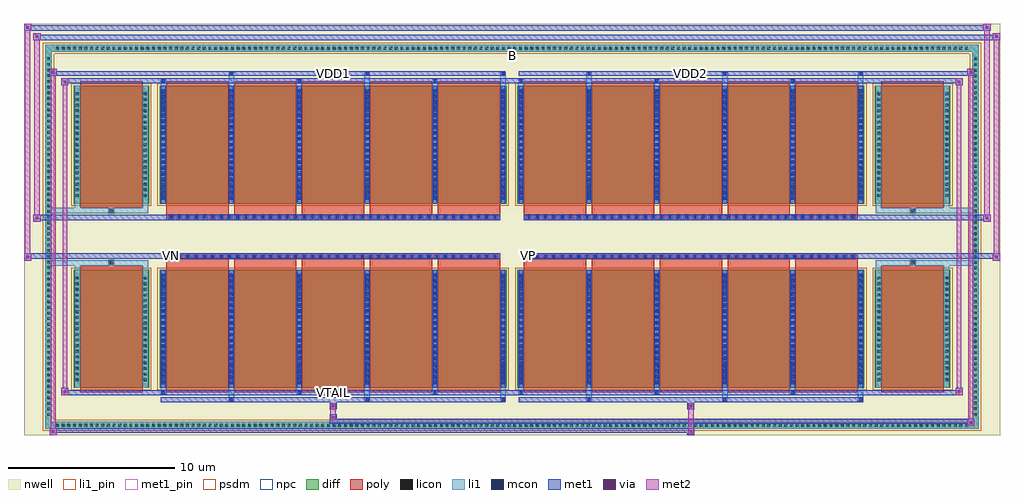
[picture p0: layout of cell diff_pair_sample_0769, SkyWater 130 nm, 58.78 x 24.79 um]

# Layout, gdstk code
import gdstk
lib = gdstk.Library(unit=1e-6, precision=5e-09)
def R(c, l, rs):  # rectangles x0, y0, x1, y1
    for r in rs: c.add(gdstk.rectangle(r[:2], r[2:], *l))
def A(c, l, x, y, w, h, nx, ny, dx, dy):  # array of equal rectangles
    R(c, l, [(x+i*dx, y+j*dy, x+i*dx+w, y+j*dy+h) for i in range(nx) for j in range(ny)])
def P(c, l, *ps):  # polygons
    for p in ps: c.add(gdstk.Polygon(p, *l))
nwell = (64, 20)
diff = (65, 20)
poly = (66, 20)
licon = (66, 44)
li1_pin = (67, 16)
li1 = (67, 20)
mcon = (67, 44)
met1_pin = (68, 16)
met1 = (68, 20)
via = (68, 44)
met2 = (69, 20)
psdm = (94, 20)
npc = (95, 20)

diff_pair_sample_0769 = lib.new_cell('diff_pair_sample_0769')
R(diff_pair_sample_0769, nwell, [(-29.39,-11.96,29.39,12.83), (-26.71,-10.15,-0.01,-0.805), (0.01,-10.15,26.71,-0.805), (-26.71,0.805,-0.01,10.15), (0.01,0.805,26.71,10.15)])
A(diff_pair_sample_0769, diff, -27.575, -11.56, 0.41, 0.41, 162, 2, 0.34, 22.71)
A(diff_pair_sample_0769, diff, -28.12, -10.915, 0.41, 0.41, 1, 64, 0, 0.34)
A(diff_pair_sample_0769, diff, 27.71, -10.915, 0.41, 0.41, 1, 64, 0, 0.34)
R(diff_pair_sample_0769, diff, [(-27.575,-11.56,27.575,-11.15), (-28.12,-10.915,-27.71,10.915), (27.71,-10.915,28.12,10.915), (-26.4,-9.105,-21.86,-1.985), (-21.22,-9.105,-0.32,-1.985), (0.32,-9.105,21.22,-1.985), (21.86,-9.105,26.4,-1.985), (-26.4,1.985,-21.86,9.105), (-21.22,1.985,-0.32,9.105), (0.32,1.985,21.22,9.105), (21.86,1.985,26.4,9.105), (-27.575,11.15,27.575,11.56)])
P(diff_pair_sample_0769, diff, [(28.12,11.56),(-28.12,11.56),(-28.12,-11.15),(-27.71,-11.15),(-27.71,11.15),(27.71,11.15),(27.71,-11.15),(-27.71,-11.15),(-28.12,-11.15),(-28.12,-11.56),(28.12,-11.56)])
A(diff_pair_sample_0769, poly, -20.83, -9.355, 3.76, 7.62, 5, 2, 4.09, 11.09)
A(diff_pair_sample_0769, poly, 0.71, -9.355, 3.76, 7.62, 5, 2, 4.09, 11.09)
A(diff_pair_sample_0769, poly, -20.83, -1.735, 3.76, 0.4, 5, 2, 4.09, 3.07)
A(diff_pair_sample_0769, poly, 0.71, -1.735, 3.76, 0.4, 5, 2, 4.09, 3.07)
A(diff_pair_sample_0769, poly, -20.685, -1.335, 0.33, 0.33, 40, 2, 0.5, 2.34)
A(diff_pair_sample_0769, poly, 0.855, -1.335, 0.33, 0.33, 40, 2, 0.5, 2.34)
R(diff_pair_sample_0769, poly, [(-26.01,-9.355,-22.25,-1.735), (22.25,-9.355,26.01,-1.735), (-24.295,-1.735,-23.965,-1.405), (-24.295,-1.735,-23.965,-1.405), (23.965,-1.735,24.295,-1.405), (23.965,-1.735,24.295,-1.405), (-20.83,-1.335,-0.71,-1.005), (0.71,-1.335,20.83,-1.005), (-20.83,1.005,-0.71,1.335), (0.71,1.005,20.83,1.335), (-24.295,1.405,-23.965,1.735), (-24.295,1.405,-23.965,1.735), (23.965,1.405,24.295,1.735), (23.965,1.405,24.295,1.735), (-26.01,1.735,-22.25,9.355), (22.25,1.735,26.01,9.355)])
A(diff_pair_sample_0769, licon, -27.455, -11.44, 0.17, 0.17, 162, 2, 0.34, 22.71)
A(diff_pair_sample_0769, licon, -28, -10.795, 0.17, 0.17, 1, 64, 0, 0.34)
A(diff_pair_sample_0769, licon, 27.83, -10.795, 0.17, 0.17, 1, 64, 0, 0.34)
A(diff_pair_sample_0769, licon, -26.26, -8.69, 0.17, 0.17, 1, 19, 0, 0.34)
A(diff_pair_sample_0769, licon, -22.17, -8.69, 0.17, 0.17, 1, 19, 0, 0.34)
A(diff_pair_sample_0769, licon, -21.08, -8.69, 0.17, 0.17, 6, 19, 4.09, 0.34)
A(diff_pair_sample_0769, licon, 0.46, -8.69, 0.17, 0.17, 6, 19, 4.09, 0.34)
A(diff_pair_sample_0769, licon, 22, -8.69, 0.17, 0.17, 1, 19, 0, 0.34)
A(diff_pair_sample_0769, licon, 26.09, -8.69, 0.17, 0.17, 1, 19, 0, 0.34)
A(diff_pair_sample_0769, licon, -20.605, -1.255, 0.17, 0.17, 40, 2, 0.5, 2.34)
A(diff_pair_sample_0769, licon, 0.935, -1.255, 0.17, 0.17, 40, 2, 0.5, 2.34)
A(diff_pair_sample_0769, licon, -26.26, 2.4, 0.17, 0.17, 1, 19, 0, 0.34)
A(diff_pair_sample_0769, licon, -22.17, 2.4, 0.17, 0.17, 1, 19, 0, 0.34)
A(diff_pair_sample_0769, licon, -21.08, 2.4, 0.17, 0.17, 6, 19, 4.09, 0.34)
A(diff_pair_sample_0769, licon, 0.46, 2.4, 0.17, 0.17, 6, 19, 4.09, 0.34)
A(diff_pair_sample_0769, licon, 22, 2.4, 0.17, 0.17, 1, 19, 0, 0.34)
A(diff_pair_sample_0769, licon, 26.09, 2.4, 0.17, 0.17, 1, 19, 0, 0.34)
R(diff_pair_sample_0769, licon, [(-24.215,-1.655,-24.045,-1.485), (24.045,-1.655,24.215,-1.485), (-24.215,1.485,-24.045,1.655), (24.045,1.485,24.215,1.655)])
R(diff_pair_sample_0769, li1_pin, [(-0.25,10.65,0.25,11.15)])
A(diff_pair_sample_0769, li1, -27.535, -11.52, 0.33, 0.33, 162, 2, 0.34, 22.71)
A(diff_pair_sample_0769, li1, -28.08, -10.875, 0.33, 0.33, 1, 64, 0, 0.34)
A(diff_pair_sample_0769, li1, 27.75, -10.875, 0.33, 0.33, 1, 64, 0, 0.34)
A(diff_pair_sample_0769, li1, -17.07, -9.91, 0.33, 0.805, 3, 2, 8.18, 19.015)
A(diff_pair_sample_0769, li1, -16.99, -9.91, 0.17, 0.17, 3, 2, 8.18, 19.65)
A(diff_pair_sample_0769, li1, 4.47, -9.91, 0.33, 0.805, 3, 2, 8.18, 19.015)
A(diff_pair_sample_0769, li1, 4.55, -9.91, 0.17, 0.17, 3, 2, 8.18, 19.65)
A(diff_pair_sample_0769, li1, -21.16, -9.48, 0.33, 0.375, 3, 2, 8.18, 18.585)
A(diff_pair_sample_0769, li1, -21.08, -9.48, 0.17, 0.17, 3, 2, 8.18, 18.79)
A(diff_pair_sample_0769, li1, 0.38, -9.48, 0.33, 0.375, 3, 2, 8.18, 18.585)
A(diff_pair_sample_0769, li1, 0.46, -9.48, 0.17, 0.17, 3, 2, 8.18, 18.79)
A(diff_pair_sample_0769, li1, -21.16, -9.105, 0.33, 7.12, 6, 2, 4.09, 11.09)
A(diff_pair_sample_0769, li1, 0.38, -9.105, 0.33, 7.12, 6, 2, 4.09, 11.09)
A(diff_pair_sample_0769, li1, -21.08, -8.87, 0.17, 0.17, 6, 19, 4.09, 0.36)
A(diff_pair_sample_0769, li1, -21.08, -8.87, 0.17, 6.65, 6, 2, 4.09, 11.09)
A(diff_pair_sample_0769, li1, 0.46, -8.87, 0.17, 0.17, 6, 19, 4.09, 0.36)
A(diff_pair_sample_0769, li1, 0.46, -8.87, 0.17, 6.65, 6, 2, 4.09, 11.09)
A(diff_pair_sample_0769, li1, -26.34, -8.77, 0.33, 0.33, 1, 19, 0, 0.34)
A(diff_pair_sample_0769, li1, -22.25, -8.77, 0.33, 0.33, 1, 19, 0, 0.34)
A(diff_pair_sample_0769, li1, -21.16, -8.77, 0.33, 0.33, 6, 19, 4.09, 0.34)
A(diff_pair_sample_0769, li1, 0.38, -8.77, 0.33, 0.33, 6, 19, 4.09, 0.34)
A(diff_pair_sample_0769, li1, 21.92, -8.77, 0.33, 0.33, 1, 19, 0, 0.34)
A(diff_pair_sample_0769, li1, 26.01, -8.77, 0.33, 0.33, 1, 19, 0, 0.34)
A(diff_pair_sample_0769, li1, -20.685, -1.335, 0.33, 0.33, 40, 2, 0.5, 2.34)
A(diff_pair_sample_0769, li1, 0.855, -1.335, 0.33, 0.33, 40, 2, 0.5, 2.34)
A(diff_pair_sample_0769, li1, -21.08, 2.22, 0.17, 0.17, 6, 19, 4.09, 0.36)
A(diff_pair_sample_0769, li1, 0.46, 2.22, 0.17, 0.17, 6, 19, 4.09, 0.36)
A(diff_pair_sample_0769, li1, -26.34, 2.32, 0.33, 0.33, 1, 19, 0, 0.34)
A(diff_pair_sample_0769, li1, -22.25, 2.32, 0.33, 0.33, 1, 19, 0, 0.34)
A(diff_pair_sample_0769, li1, -21.16, 2.32, 0.33, 0.33, 6, 19, 4.09, 0.34)
A(diff_pair_sample_0769, li1, 0.38, 2.32, 0.33, 0.33, 6, 19, 4.09, 0.34)
A(diff_pair_sample_0769, li1, 21.92, 2.32, 0.33, 0.33, 1, 19, 0, 0.34)
A(diff_pair_sample_0769, li1, 26.01, 2.32, 0.33, 0.33, 1, 19, 0, 0.34)
R(diff_pair_sample_0769, li1, [(-28.12,-11.56,-27.71,-11.15), (-28.12,-11.56,-27.71,-11.15), (-27.71,-11.56,27.71,-11.15), (27.71,-11.56,28.12,-11.15), (27.71,-11.56,28.12,-11.15), (-28.12,-11.15,-27.71,11.15), (27.71,-11.15,28.12,11.15), (-26.34,-9.105,-26.01,-1.985), (-22.25,-9.105,-21.92,-1.985), (21.92,-9.105,22.25,-1.985), (26.01,-9.105,26.34,-1.985), (-26.34,-1.985,-26.01,-1.405), (-22.25,-1.985,-21.92,-1.405), (21.92,-1.985,22.25,-1.405), (26.01,-1.985,26.34,-1.405), (-28.12,-1.735,-24.295,-1.405), (-26.34,-1.735,-24.295,-1.405), (-24.295,-1.735,-23.965,-1.405), (-23.965,-1.735,-21.92,-1.405), (21.92,-1.735,23.965,-1.405), (23.965,-1.735,24.295,-1.405), (23.965,-1.735,28.12,-1.405), (24.295,-1.735,26.34,-1.405), (-28.12,1.405,-24.295,1.735), (-26.34,1.405,-24.295,1.735), (-26.34,1.405,-26.01,1.985), (-24.295,1.405,-23.965,1.735), (-23.965,1.405,-21.92,1.735), (-22.25,1.405,-21.92,1.985), (21.92,1.405,23.965,1.735), (21.92,1.405,22.25,1.985), (23.965,1.405,24.295,1.735), (23.965,1.405,28.12,1.735), (24.295,1.405,26.34,1.735), (26.01,1.405,26.34,1.985), (-26.34,1.985,-26.01,9.105), (-22.25,1.985,-21.92,9.105), (21.92,1.985,22.25,9.105), (26.01,1.985,26.34,9.105), (-28.12,11.15,-27.71,11.56), (-28.12,11.15,-27.71,11.56), (-27.71,11.15,27.71,11.56), (27.71,11.15,28.12,11.56), (27.71,11.15,28.12,11.56)])
A(diff_pair_sample_0769, mcon, -16.99, -9.91, 0.17, 0.17, 3, 2, 8.18, 19.65)
A(diff_pair_sample_0769, mcon, 4.55, -9.91, 0.17, 0.17, 3, 2, 8.18, 19.65)
A(diff_pair_sample_0769, mcon, -21.08, -9.48, 0.17, 0.17, 3, 2, 8.18, 18.79)
A(diff_pair_sample_0769, mcon, 0.46, -9.48, 0.17, 0.17, 3, 2, 8.18, 18.79)
A(diff_pair_sample_0769, mcon, -21.08, -8.87, 0.17, 0.17, 6, 19, 4.09, 0.36)
A(diff_pair_sample_0769, mcon, 0.46, -8.87, 0.17, 0.17, 6, 19, 4.09, 0.36)
A(diff_pair_sample_0769, mcon, -20.605, -1.255, 0.17, 0.17, 40, 2, 0.5, 2.34)
A(diff_pair_sample_0769, mcon, 0.935, -1.255, 0.17, 0.17, 40, 2, 0.5, 2.34)
A(diff_pair_sample_0769, mcon, -21.08, 2.22, 0.17, 0.17, 6, 19, 4.09, 0.36)
A(diff_pair_sample_0769, mcon, 0.46, 2.22, 0.17, 0.17, 6, 19, 4.09, 0.36)
R(diff_pair_sample_0769, met1_pin, [(-10.905,-9.52,-10.635,-9.25), (-20.655,-1.295,-20.385,-1.025), (0.885,-1.295,1.155,-1.025), (-10.905,9.7,-10.635,9.97), (10.635,9.7,10.905,9.97)])
A(diff_pair_sample_0769, met1, -17.05, -9.97, 0.29, 0.29, 3, 2, 8.18, 19.65)
A(diff_pair_sample_0769, met1, 4.49, -9.97, 0.29, 0.29, 3, 2, 8.18, 19.65)
A(diff_pair_sample_0769, met1, -21.14, -9.54, 0.29, 0.29, 3, 2, 8.18, 18.79)
A(diff_pair_sample_0769, met1, 0.4, -9.54, 0.29, 0.29, 3, 2, 8.18, 18.79)
A(diff_pair_sample_0769, met1, -21.14, -9.105, 0.29, 7.12, 6, 2, 4.09, 11.09)
A(diff_pair_sample_0769, met1, 0.4, -9.105, 0.29, 7.12, 6, 2, 4.09, 11.09)
A(diff_pair_sample_0769, met1, -21.14, -8.93, 0.29, 0.29, 6, 19, 4.09, 0.36)
A(diff_pair_sample_0769, met1, 0.4, -8.93, 0.29, 0.29, 6, 19, 4.09, 0.36)
A(diff_pair_sample_0769, met1, -20.665, -1.315, 0.29, 0.29, 40, 2, 0.5, 2.34)
A(diff_pair_sample_0769, met1, 0.875, -1.315, 0.29, 0.29, 40, 2, 0.5, 2.34)
A(diff_pair_sample_0769, met1, -21.14, 2.16, 0.29, 0.29, 6, 19, 4.09, 0.36)
A(diff_pair_sample_0769, met1, 0.4, 2.16, 0.29, 0.29, 6, 19, 4.09, 0.36)
R(diff_pair_sample_0769, met1, [(-27.85,-11.96,-27.42,-11.53), (10.555,-11.96,10.985,-11.53), (-27.85,-11.82,10.985,-11.53), (27.42,-11.39,27.85,-10.96), (-10.985,-11.25,27.85,-10.96), (-10.985,-11.11,-10.555,-10.68), (-10.985,-10.4,-10.555,-9.97), (10.555,-10.4,10.985,-9.97), (-21.14,-9.97,-0.4,-9.68), (0.4,-9.97,21.14,-9.68), (-27.14,-9.54,-26.71,-9.11), (-27.14,-9.54,-21.14,-9.25), (-21.14,-9.54,-0.4,-9.25), (-0.4,-9.54,0.4,-9.25), (0.4,-9.54,21.14,-9.25), (21.14,-9.54,27.14,-9.25), (26.71,-9.54,27.14,-9.11), (-29.39,-1.435,-28.96,-1.005), (28.96,-1.435,29.39,-1.005), (-29.39,-1.335,-0.71,-1.005), (-20.83,-1.335,-0.71,-1.005), (0.71,-1.335,20.83,-1.005), (0.71,-1.335,29.39,-1.005), (-28.82,0.905,-28.39,1.335), (28.39,0.905,28.82,1.335), (-28.82,1.005,-20.83,1.335), (-20.83,1.005,-0.71,1.335), (0.71,1.005,20.83,1.335), (20.83,1.005,28.82,1.335), (-27.14,9.11,-26.71,9.54), (26.71,9.11,27.14,9.54), (-27.14,9.25,-21.14,9.54), (-21.14,9.25,-0.4,9.54), (-0.4,9.25,0.4,9.54), (0.4,9.25,21.14,9.54), (21.14,9.25,27.14,9.54), (-27.85,9.68,-27.42,10.11), (-27.85,9.68,-21.14,9.97), (-21.14,9.68,-0.4,9.97), (0.4,9.68,21.14,9.97), (21.14,9.68,27.85,9.97), (27.42,9.68,27.85,10.11), (-28.82,11.83,-28.39,12.26), (-28.82,11.83,-26.71,12.16), (-26.71,11.83,26.71,12.16), (26.71,11.83,29.39,12.16), (28.96,11.83,29.39,12.26), (-29.39,12.4,-28.96,12.83), (-29.39,12.4,-26.71,12.73), (-26.71,12.4,26.71,12.73), (26.71,12.4,28.82,12.73), (28.39,12.4,28.82,12.83)])
R(diff_pair_sample_0769, via, [(-27.71,-11.82,-27.56,-11.67), (10.695,-11.82,10.845,-11.67), (27.56,-11.25,27.71,-11.1), (-10.845,-10.97,-10.695,-10.82), (-10.845,-10.26,-10.695,-10.11), (10.695,-10.26,10.845,-10.11), (-27,-9.4,-26.85,-9.25), (26.85,-9.4,27,-9.25), (-29.25,-1.295,-29.1,-1.145), (29.1,-1.295,29.25,-1.145), (-28.68,1.045,-28.53,1.195), (28.53,1.045,28.68,1.195), (-27,9.25,-26.85,9.4), (26.85,9.25,27,9.4), (-27.71,9.82,-27.56,9.97), (27.56,9.82,27.71,9.97), (-28.68,11.97,-28.53,12.12), (29.1,11.97,29.25,12.12), (-29.25,12.54,-29.1,12.69), (28.53,12.54,28.68,12.69)])
R(diff_pair_sample_0769, met2, [(-27.85,-11.96,-27.42,-11.53), (-27.78,-11.96,-27.49,10.11), (-27.49,-11.96,-27.42,-11.53), (-27.8,-11.91,-27.47,-11.58), (10.605,-11.91,10.935,-11.58), (10.605,-11.58,10.935,-10.35), (27.42,-11.39,27.85,-10.96), (27.49,-11.39,27.78,10.11), (27.78,-11.39,27.85,-10.96), (27.47,-11.34,27.8,-11.01), (-10.935,-11.06,-10.605,-10.73), (-10.935,-10.73,-10.605,-10.35), (-10.935,-10.35,-10.605,-10.02), (10.605,-10.35,10.935,-10.02), (-27.14,-9.54,-26.71,-9.11), (-27.07,-9.54,-26.78,9.54), (-26.78,-9.54,-26.71,-9.11), (26.71,-9.54,27.14,-9.11), (26.78,-9.54,27.07,9.54), (27.07,-9.54,27.14,-9.11), (-27.09,-9.49,-26.76,-9.16), (26.76,-9.49,27.09,-9.16), (-29.39,-1.435,-28.96,-1.005), (-29.34,-1.435,-29.01,12.83), (-29.01,-1.435,-28.96,-1.005), (28.96,-1.435,29.39,-1.005), (29.01,-1.435,29.34,12.26), (29.34,-1.435,29.39,-1.005), (-29.34,-1.385,-29.01,-1.055), (29.01,-1.385,29.34,-1.055), (-28.82,0.905,-28.39,1.335), (-28.77,0.905,-28.44,12.26), (-28.44,0.905,-28.39,1.335), (28.39,0.905,28.82,1.335), (28.44,0.905,28.77,12.83), (28.77,0.905,28.82,1.335), (-28.77,0.955,-28.44,1.285), (28.44,0.955,28.77,1.285), (-27.14,9.11,-26.71,9.54), (-26.78,9.11,-26.71,9.54), (26.71,9.11,27.14,9.54), (27.07,9.11,27.14,9.54), (-27.09,9.16,-26.76,9.49), (26.76,9.16,27.09,9.49), (-27.85,9.68,-27.42,10.11), (-27.49,9.68,-27.42,10.11), (27.42,9.68,27.85,10.11), (27.78,9.68,27.85,10.11), (-27.8,9.73,-27.47,10.06), (27.47,9.73,27.8,10.06), (-28.82,11.83,-28.39,12.26), (-28.44,11.83,-28.39,12.26), (28.96,11.83,29.39,12.26), (29.34,11.83,29.39,12.26), (-28.77,11.88,-28.44,12.21), (29.01,11.88,29.34,12.21), (-29.39,12.4,-28.96,12.83), (-29.01,12.4,-28.96,12.83), (28.39,12.4,28.82,12.83), (28.77,12.4,28.82,12.83), (-29.34,12.45,-29.01,12.78), (28.44,12.45,28.77,12.78)])
R(diff_pair_sample_0769, psdm, [(-26.53,-9.235,-21.73,-1.855), (-21.35,-9.235,-0.19,-1.855), (0.19,-9.235,21.35,-1.855), (21.73,-9.235,26.53,-1.855), (-26.53,1.855,-21.73,9.235), (-21.35,1.855,-0.19,9.235), (0.19,1.855,21.35,9.235), (21.73,1.855,26.53,9.235)])
P(diff_pair_sample_0769, psdm, [(28.25,11.69),(-28.25,11.69),(-28.25,-11.02),(-27.58,-11.02),(-27.58,11.02),(27.58,11.02),(27.58,-11.02),(-27.58,-11.02),(-28.25,-11.02),(-28.25,-11.69),(28.25,-11.69)])
A(diff_pair_sample_0769, npc, -20.705, -1.355, 0.37, 0.37, 40, 2, 0.5, 2.34)
A(diff_pair_sample_0769, npc, 0.835, -1.355, 0.37, 0.37, 40, 2, 0.5, 2.34)
R(diff_pair_sample_0769, npc, [(-24.315,-1.755,-23.945,-1.385), (23.945,-1.755,24.315,-1.385), (-20.705,-1.355,-19.835,-0.985), (-20.705,-1.355,-19.835,-0.985), (-20.205,-1.355,-19.335,-0.985), (-20.205,-1.355,-19.335,-0.985), (-19.705,-1.355,-18.835,-0.985), (-19.705,-1.355,-18.835,-0.985), (-19.205,-1.355,-18.335,-0.985), (-19.205,-1.355,-18.335,-0.985), (-18.705,-1.355,-17.835,-0.985), (-18.705,-1.355,-17.835,-0.985), (-18.205,-1.355,-17.335,-0.985), (-18.205,-1.355,-17.335,-0.985), (-17.705,-1.355,-16.835,-0.985), (-17.705,-1.355,-16.835,-0.985), (-17.205,-1.355,-16.335,-0.985), (-17.205,-1.355,-16.335,-0.985), (-16.705,-1.355,-15.835,-0.985), (-16.705,-1.355,-15.835,-0.985), (-16.205,-1.355,-15.335,-0.985), (-16.205,-1.355,-15.335,-0.985), (-15.705,-1.355,-14.835,-0.985), (-15.705,-1.355,-14.835,-0.985), (-15.205,-1.355,-14.335,-0.985), (-15.205,-1.355,-14.335,-0.985), (-14.705,-1.355,-13.835,-0.985), (-14.705,-1.355,-13.835,-0.985), (-14.205,-1.355,-13.335,-0.985), (-14.205,-1.355,-13.335,-0.985), (-13.705,-1.355,-12.835,-0.985), (-13.705,-1.355,-12.835,-0.985), (-13.205,-1.355,-12.335,-0.985), (-13.205,-1.355,-12.335,-0.985), (-12.705,-1.355,-11.835,-0.985), (-12.705,-1.355,-11.835,-0.985), (-12.205,-1.355,-11.335,-0.985), (-12.205,-1.355,-11.335,-0.985), (-11.705,-1.355,-10.835,-0.985), (-11.705,-1.355,-10.835,-0.985), (-11.205,-1.355,-10.335,-0.985), (-11.205,-1.355,-10.335,-0.985), (-10.705,-1.355,-9.835,-0.985), (-10.705,-1.355,-9.835,-0.985), (-10.205,-1.355,-9.335,-0.985), (-10.205,-1.355,-9.335,-0.985), (-9.705,-1.355,-8.835,-0.985), (-9.705,-1.355,-8.835,-0.985), (-9.205,-1.355,-8.335,-0.985), (-9.205,-1.355,-8.335,-0.985), (-8.705,-1.355,-7.835,-0.985), (-8.705,-1.355,-7.835,-0.985), (-8.205,-1.355,-7.335,-0.985), (-8.205,-1.355,-7.335,-0.985), (-7.705,-1.355,-6.835,-0.985), (-7.705,-1.355,-6.835,-0.985), (-7.205,-1.355,-6.335,-0.985), (-7.205,-1.355,-6.335,-0.985), (-6.705,-1.355,-5.835,-0.985), (-6.705,-1.355,-5.835,-0.985), (-6.205,-1.355,-5.335,-0.985), (-6.205,-1.355,-5.335,-0.985), (-5.705,-1.355,-4.835,-0.985), (-5.705,-1.355,-4.835,-0.985), (-5.205,-1.355,-4.335,-0.985), (-5.205,-1.355,-4.335,-0.985), (-4.705,-1.355,-3.835,-0.985), (-4.705,-1.355,-3.835,-0.985), (-4.205,-1.355,-3.335,-0.985), (-4.205,-1.355,-3.335,-0.985), (-3.705,-1.355,-2.835,-0.985), (-3.705,-1.355,-2.835,-0.985), (-3.205,-1.355,-2.335,-0.985), (-3.205,-1.355,-2.335,-0.985), (-2.705,-1.355,-1.835,-0.985), (-2.705,-1.355,-1.835,-0.985), (-2.205,-1.355,-1.335,-0.985), (-2.205,-1.355,-1.335,-0.985), (-1.705,-1.355,-0.835,-0.985), (-1.705,-1.355,-0.835,-0.985), (0.835,-1.355,1.705,-0.985), (0.835,-1.355,1.705,-0.985), (1.335,-1.355,2.205,-0.985), (1.335,-1.355,2.205,-0.985), (1.835,-1.355,2.705,-0.985), (1.835,-1.355,2.705,-0.985), (2.335,-1.355,3.205,-0.985), (2.335,-1.355,3.205,-0.985), (2.835,-1.355,3.705,-0.985), (2.835,-1.355,3.705,-0.985), (3.335,-1.355,4.205,-0.985), (3.335,-1.355,4.205,-0.985), (3.835,-1.355,4.705,-0.985), (3.835,-1.355,4.705,-0.985), (4.335,-1.355,5.205,-0.985), (4.335,-1.355,5.205,-0.985), (4.835,-1.355,5.705,-0.985), (4.835,-1.355,5.705,-0.985), (5.335,-1.355,6.205,-0.985), (5.335,-1.355,6.205,-0.985), (5.835,-1.355,6.705,-0.985), (5.835,-1.355,6.705,-0.985), (6.335,-1.355,7.205,-0.985), (6.335,-1.355,7.205,-0.985), (6.835,-1.355,7.705,-0.985), (6.835,-1.355,7.705,-0.985), (7.335,-1.355,8.205,-0.985), (7.335,-1.355,8.205,-0.985), (7.835,-1.355,8.705,-0.985), (7.835,-1.355,8.705,-0.985), (8.335,-1.355,9.205,-0.985), (8.335,-1.355,9.205,-0.985), (8.835,-1.355,9.705,-0.985), (8.835,-1.355,9.705,-0.985), (9.335,-1.355,10.205,-0.985), (9.335,-1.355,10.205,-0.985), (9.835,-1.355,10.705,-0.985), (9.835,-1.355,10.705,-0.985), (10.335,-1.355,11.205,-0.985), (10.335,-1.355,11.205,-0.985), (10.835,-1.355,11.705,-0.985), (10.835,-1.355,11.705,-0.985), (11.335,-1.355,12.205,-0.985), (11.335,-1.355,12.205,-0.985), (11.835,-1.355,12.705,-0.985), (11.835,-1.355,12.705,-0.985), (12.335,-1.355,13.205,-0.985), (12.335,-1.355,13.205,-0.985), (12.835,-1.355,13.705,-0.985), (12.835,-1.355,13.705,-0.985), (13.335,-1.355,14.205,-0.985), (13.335,-1.355,14.205,-0.985), (13.835,-1.355,14.705,-0.985), (13.835,-1.355,14.705,-0.985), (14.335,-1.355,15.205,-0.985), (14.335,-1.355,15.205,-0.985), (14.835,-1.355,15.705,-0.985), (14.835,-1.355,15.705,-0.985), (15.335,-1.355,16.205,-0.985), (15.335,-1.355,16.205,-0.985), (15.835,-1.355,16.705,-0.985), (15.835,-1.355,16.705,-0.985), (16.335,-1.355,17.205,-0.985), (16.335,-1.355,17.205,-0.985), (16.835,-1.355,17.705,-0.985), (16.835,-1.355,17.705,-0.985), (17.335,-1.355,18.205,-0.985), (17.335,-1.355,18.205,-0.985), (17.835,-1.355,18.705,-0.985), (17.835,-1.355,18.705,-0.985), (18.335,-1.355,19.205,-0.985), (18.335,-1.355,19.205,-0.985), (18.835,-1.355,19.705,-0.985), (18.835,-1.355,19.705,-0.985), (19.335,-1.355,20.205,-0.985), (19.335,-1.355,20.205,-0.985), (19.835,-1.355,20.705,-0.985), (19.835,-1.355,20.705,-0.985), (-20.705,0.985,-19.835,1.355), (-20.705,0.985,-19.835,1.355), (-20.205,0.985,-19.335,1.355), (-20.205,0.985,-19.335,1.355), (-19.705,0.985,-18.835,1.355), (-19.705,0.985,-18.835,1.355), (-19.205,0.985,-18.335,1.355), (-19.205,0.985,-18.335,1.355), (-18.705,0.985,-17.835,1.355), (-18.705,0.985,-17.835,1.355), (-18.205,0.985,-17.335,1.355), (-18.205,0.985,-17.335,1.355), (-17.705,0.985,-16.835,1.355), (-17.705,0.985,-16.835,1.355), (-17.205,0.985,-16.335,1.355), (-17.205,0.985,-16.335,1.355), (-16.705,0.985,-15.835,1.355), (-16.705,0.985,-15.835,1.355), (-16.205,0.985,-15.335,1.355), (-16.205,0.985,-15.335,1.355), (-15.705,0.985,-14.835,1.355), (-15.705,0.985,-14.835,1.355), (-15.205,0.985,-14.335,1.355), (-15.205,0.985,-14.335,1.355), (-14.705,0.985,-13.835,1.355), (-14.705,0.985,-13.835,1.355), (-14.205,0.985,-13.335,1.355), (-14.205,0.985,-13.335,1.355), (-13.705,0.985,-12.835,1.355), (-13.705,0.985,-12.835,1.355), (-13.205,0.985,-12.335,1.355), (-13.205,0.985,-12.335,1.355), (-12.705,0.985,-11.835,1.355), (-12.705,0.985,-11.835,1.355), (-12.205,0.985,-11.335,1.355), (-12.205,0.985,-11.335,1.355), (-11.705,0.985,-10.835,1.355), (-11.705,0.985,-10.835,1.355), (-11.205,0.985,-10.335,1.355), (-11.205,0.985,-10.335,1.355), (-10.705,0.985,-9.835,1.355), (-10.705,0.985,-9.835,1.355), (-10.205,0.985,-9.335,1.355), (-10.205,0.985,-9.335,1.355), (-9.705,0.985,-8.835,1.355), (-9.705,0.985,-8.835,1.355), (-9.205,0.985,-8.335,1.355), (-9.205,0.985,-8.335,1.355), (-8.705,0.985,-7.835,1.355), (-8.705,0.985,-7.835,1.355), (-8.205,0.985,-7.335,1.355), (-8.205,0.985,-7.335,1.355), (-7.705,0.985,-6.835,1.355), (-7.705,0.985,-6.835,1.355), (-7.205,0.985,-6.335,1.355), (-7.205,0.985,-6.335,1.355), (-6.705,0.985,-5.835,1.355), (-6.705,0.985,-5.835,1.355), (-6.205,0.985,-5.335,1.355), (-6.205,0.985,-5.335,1.355), (-5.705,0.985,-4.835,1.355), (-5.705,0.985,-4.835,1.355), (-5.205,0.985,-4.335,1.355), (-5.205,0.985,-4.335,1.355), (-4.705,0.985,-3.835,1.355), (-4.705,0.985,-3.835,1.355), (-4.205,0.985,-3.335,1.355), (-4.205,0.985,-3.335,1.355), (-3.705,0.985,-2.835,1.355), (-3.705,0.985,-2.835,1.355), (-3.205,0.985,-2.335,1.355), (-3.205,0.985,-2.335,1.355), (-2.705,0.985,-1.835,1.355), (-2.705,0.985,-1.835,1.355), (-2.205,0.985,-1.335,1.355), (-2.205,0.985,-1.335,1.355), (-1.705,0.985,-0.835,1.355), (-1.705,0.985,-0.835,1.355), (0.835,0.985,1.705,1.355), (0.835,0.985,1.705,1.355), (1.335,0.985,2.205,1.355), (1.335,0.985,2.205,1.355), (1.835,0.985,2.705,1.355), (1.835,0.985,2.705,1.355), (2.335,0.985,3.205,1.355), (2.335,0.985,3.205,1.355), (2.835,0.985,3.705,1.355), (2.835,0.985,3.705,1.355), (3.335,0.985,4.205,1.355), (3.335,0.985,4.205,1.355), (3.835,0.985,4.705,1.355), (3.835,0.985,4.705,1.355), (4.335,0.985,5.205,1.355), (4.335,0.985,5.205,1.355), (4.835,0.985,5.705,1.355), (4.835,0.985,5.705,1.355), (5.335,0.985,6.205,1.355), (5.335,0.985,6.205,1.355), (5.835,0.985,6.705,1.355), (5.835,0.985,6.705,1.355), (6.335,0.985,7.205,1.355), (6.335,0.985,7.205,1.355), (6.835,0.985,7.705,1.355), (6.835,0.985,7.705,1.355), (7.335,0.985,8.205,1.355), (7.335,0.985,8.205,1.355), (7.835,0.985,8.705,1.355), (7.835,0.985,8.705,1.355), (8.335,0.985,9.205,1.355), (8.335,0.985,9.205,1.355), (8.835,0.985,9.705,1.355), (8.835,0.985,9.705,1.355), (9.335,0.985,10.205,1.355), (9.335,0.985,10.205,1.355), (9.835,0.985,10.705,1.355), (9.835,0.985,10.705,1.355), (10.335,0.985,11.205,1.355), (10.335,0.985,11.205,1.355), (10.835,0.985,11.705,1.355), (10.835,0.985,11.705,1.355), (11.335,0.985,12.205,1.355), (11.335,0.985,12.205,1.355), (11.835,0.985,12.705,1.355), (11.835,0.985,12.705,1.355), (12.335,0.985,13.205,1.355), (12.335,0.985,13.205,1.355), (12.835,0.985,13.705,1.355), (12.835,0.985,13.705,1.355), (13.335,0.985,14.205,1.355), (13.335,0.985,14.205,1.355), (13.835,0.985,14.705,1.355), (13.835,0.985,14.705,1.355), (14.335,0.985,15.205,1.355), (14.335,0.985,15.205,1.355), (14.835,0.985,15.705,1.355), (14.835,0.985,15.705,1.355), (15.335,0.985,16.205,1.355), (15.335,0.985,16.205,1.355), (15.835,0.985,16.705,1.355), (15.835,0.985,16.705,1.355), (16.335,0.985,17.205,1.355), (16.335,0.985,17.205,1.355), (16.835,0.985,17.705,1.355), (16.835,0.985,17.705,1.355), (17.335,0.985,18.205,1.355), (17.335,0.985,18.205,1.355), (17.835,0.985,18.705,1.355), (17.835,0.985,18.705,1.355), (18.335,0.985,19.205,1.355), (18.335,0.985,19.205,1.355), (18.835,0.985,19.705,1.355), (18.835,0.985,19.705,1.355), (19.335,0.985,20.205,1.355), (19.335,0.985,20.205,1.355), (19.835,0.985,20.705,1.355), (19.835,0.985,20.705,1.355), (-24.315,1.385,-23.945,1.755), (23.945,1.385,24.315,1.755)])
diff_pair_sample_0769.add(gdstk.Label('VTAIL', (-10.77,-9.385), layer=68, texttype=5))
diff_pair_sample_0769.add(gdstk.Label('VN', (-20.52,-1.16), layer=68, texttype=5))
diff_pair_sample_0769.add(gdstk.Label('VP', (1.02,-1.16), layer=68, texttype=5))
diff_pair_sample_0769.add(gdstk.Label('B', (0,10.9), layer=67, texttype=5))
diff_pair_sample_0769.add(gdstk.Label('VDD2', (10.77,9.835), layer=68, texttype=5))
diff_pair_sample_0769.add(gdstk.Label('VDD1', (-10.77,9.835), layer=68, texttype=5))

lib.write_gds('diff_pair_sample_0769.gds')
